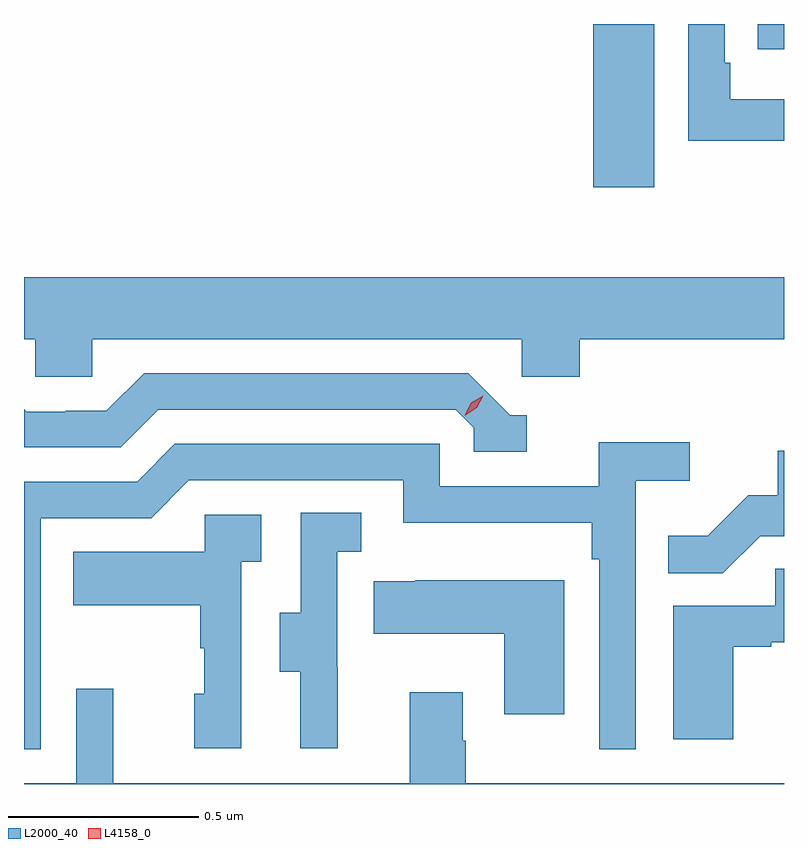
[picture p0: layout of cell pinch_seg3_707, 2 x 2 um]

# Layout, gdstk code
import gdstk
lib = gdstk.Library(unit=1e-6, precision=1e-09)
def R(c, l, rs):  # rectangles x0, y0, x1, y1
    for r in rs: c.add(gdstk.rectangle(r[:2], r[2:], *l))
def P(c, l, *ps):  # polygons
    for p in ps: c.add(gdstk.Polygon(p, *l))
L2000_40 = (2000, 40)
L4158_0 = (4158, 0)

pinch_seg3_707 = lib.new_cell('pinch_seg3_707')
R(pinch_seg3_707, L2000_40, [(1107.968,669.348,1108.129,669.778), (1108.401,669.711,1108.47,669.778)])
P(pinch_seg3_707, L2000_40, [(1108.47,669.58),(1108.328,669.58),(1108.328,669.676),(1108.314,669.676),(1108.314,669.778),(1108.218,669.778),(1108.218,669.471),(1108.47,669.471)],
  [(1106.649,668.948),(1107.78,668.948),(1107.78,668.85),(1107.932,668.85),(1107.932,668.948),(1108.47,668.948),(1108.47,669.112),(1106.47,669.112),(1106.47,668.948),(1106.499,668.948),(1106.499,668.85),(1106.649,668.85)],
  [(1107.793,668.748),(1107.75,668.748),(1107.639,668.859),(1106.786,668.859),(1106.687,668.76),(1106.58,668.76),(1106.58,668.757),(1106.477,668.757),(1106.47,668.764),(1106.47,668.664),(1106.724,668.664),(1106.823,668.763),(1107.606,668.763),(1107.654,668.715),(1107.654,668.652),(1107.793,668.652)],
  [(1106.514,668.478),(1106.805,668.478),(1106.904,668.577),(1107.468,668.577),(1107.468,668.465),(1107.964,668.465),(1107.964,668.369),(1107.984,668.369),(1107.984,667.869),(1108.08,667.869),(1108.08,668.576),(1108.222,668.576),(1108.222,668.678),(1107.983,668.678),(1107.983,668.562),(1107.564,668.562),(1107.564,668.673),(1106.867,668.673),(1106.768,668.574),(1106.47,668.574),(1106.47,667.869),(1106.514,667.869)],
  [(1108.407,668.43),(1108.47,668.43),(1108.47,668.655),(1108.453,668.655),(1108.453,668.538),(1108.376,668.538),(1108.269,668.431),(1108.165,668.431),(1108.165,668.332),(1108.309,668.332)],
  [(1107.296,668.085),(1107.294,668.085),(1107.294,668.389),(1107.358,668.389),(1107.358,668.492),(1107.198,668.492),(1107.198,668.229),(1107.143,668.229),(1107.143,668.074),(1107.197,668.074),(1107.197,667.872),(1107.296,667.872)],
  [(1107.042,668.363),(1107.094,668.363),(1107.094,668.487),(1106.946,668.487),(1106.946,668.389),(1106.599,668.389),(1106.599,668.249),(1106.934,668.249),(1106.934,668.135),(1106.944,668.135),(1106.944,668.016),(1106.918,668.016),(1106.918,667.872),(1107.042,667.872)],
  [(1108.336,668.139),(1108.436,668.139),(1108.436,668.151),(1108.47,668.151),(1108.47,668.345),(1108.447,668.345),(1108.447,668.247),(1108.178,668.247),(1108.178,667.896),(1108.336,667.896)],
  [(1107.892,668.314),(1107.499,668.314),(1107.499,668.311),(1107.391,668.311),(1107.391,668.174),(1107.734,668.174),(1107.734,667.962),(1107.892,667.962)],
  [(1108.47,667.78),(1107.633,667.78),(1107.633,667.892),(1107.625,667.892),(1107.625,668.02),(1107.485,668.02),(1107.485,667.78),(1106.705,667.78),(1106.705,668.029),(1106.607,668.029),(1106.607,667.78),(1106.47,667.78),(1106.47,667.778),(1108.47,667.778)])
P(pinch_seg3_707, L4158_0, [(1107.63,668.749),(1107.63,668.749),(1107.647,668.781),(1107.678,668.8),(1107.678,668.8),(1107.678,668.8),(1107.662,668.768),(1107.631,668.749)])

lib.write_gds('pinch_seg3_707.gds')
